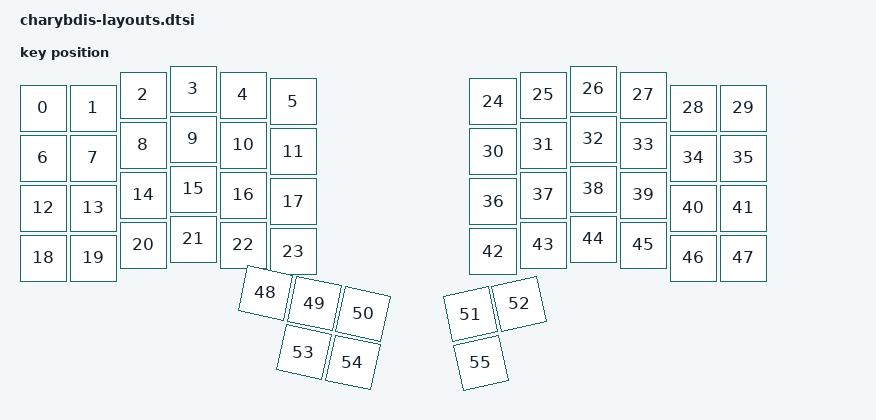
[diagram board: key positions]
#include <physical_layouts.dtsi>

/ {
    charybdis_physical_layout: charybdis_physical_layout {
        compatible = "zmk,physical-layout";
        display-name = "Charybdis 4x6";

        kscan = <&kscan0>;
        transform = <&default_transform>;

        keys
            // =====================================================
            // LEFT HALF — MAIN CLUSTER (4 x 6)
            // =====================================================

            // Row 0 (top / number row)
            = <&key_physical_attrs 100 100    0   38    0   0   0>
            , <&key_physical_attrs 100 100  100   38    0   0   0>
            , <&key_physical_attrs 100 100  200   12    0   0   0>
            , <&key_physical_attrs 100 100  300    0    0   0   0>
            , <&key_physical_attrs 100 100  400   12    0   0   0>
            , <&key_physical_attrs 100 100  500   25    0   0   0>

            // Row 1
            , <&key_physical_attrs 100 100    0  138    0   0   0>
            , <&key_physical_attrs 100 100  100  138    0   0   0>
            , <&key_physical_attrs 100 100  200  112    0   0   0>
            , <&key_physical_attrs 100 100  300  100    0   0   0>
            , <&key_physical_attrs 100 100  400  112    0   0   0>
            , <&key_physical_attrs 100 100  500  125    0   0   0>

            // Row 2 (home)
            , <&key_physical_attrs 100 100    0  238    0   0   0>
            , <&key_physical_attrs 100 100  100  238    0   0   0>
            , <&key_physical_attrs 100 100  200  212    0   0   0>
            , <&key_physical_attrs 100 100  300  200    0   0   0>
            , <&key_physical_attrs 100 100  400  212    0   0   0>
            , <&key_physical_attrs 100 100  500  225    0   0   0>

            // Row 3 (bottom)
            , <&key_physical_attrs 100 100    0  338    0   0   0>
            , <&key_physical_attrs 100 100  100  338    0   0   0>
            , <&key_physical_attrs 100 100  200  312    0   0   0>
            , <&key_physical_attrs 100 100  300  300    0   0   0>
            , <&key_physical_attrs 100 100  400  312    0   0   0>
            , <&key_physical_attrs 100 100  500  325    0   0   0>

            // =====================================================
            // RIGHT HALF — MAIN CLUSTER (4 x 6)
            // =====================================================

            // Row 0 (top / number row)
            , <&key_physical_attrs 100 100  900   25    0   0   0>
            , <&key_physical_attrs 100 100 1000   12    0   0   0>
            , <&key_physical_attrs 100 100 1100    0    0   0   0>
            , <&key_physical_attrs 100 100 1200   12    0   0   0>
            , <&key_physical_attrs 100 100 1300   38    0   0   0>
            , <&key_physical_attrs 100 100 1400   38    0   0   0>

            // Row 1
            , <&key_physical_attrs 100 100  900  125    0   0   0>
            , <&key_physical_attrs 100 100 1000  112    0   0   0>
            , <&key_physical_attrs 100 100 1100  100    0   0   0>
            , <&key_physical_attrs 100 100 1200  112    0   0   0>
            , <&key_physical_attrs 100 100 1300  138    0   0   0>
            , <&key_physical_attrs 100 100 1400  138    0   0   0>

            // Row 2 (home)
            , <&key_physical_attrs 100 100  900  225    0   0   0>
            , <&key_physical_attrs 100 100 1000  212    0   0   0>
            , <&key_physical_attrs 100 100 1100  200    0   0   0>
            , <&key_physical_attrs 100 100 1200  212    0   0   0>
            , <&key_physical_attrs 100 100 1300  238    0   0   0>
            , <&key_physical_attrs 100 100 1400  238    0   0   0>

            // Row 3 (bottom)
            , <&key_physical_attrs 100 100  900  325    0   0   0>
            , <&key_physical_attrs 100 100 1000  312    0   0   0>
            , <&key_physical_attrs 100 100 1100  300    0   0   0>
            , <&key_physical_attrs 100 100 1200  312    0   0   0>
            , <&key_physical_attrs 100 100 1300  338    0   0   0>
            , <&key_physical_attrs 100 100 1400  338    0   0   0>

            // =====================================================
            // THUMB CLUSTER — 5 LEFT + 3 RIGHT
            // =====================================================

            // Left Thumb (top row: 3 keys)
            , <&key_physical_attrs 100 100  355  418  1200  498  890>
            , <&key_physical_attrs 100 100  455  418  1200  498  890>
            , <&key_physical_attrs 100 100  555  418  1200  498  890>

            // Right Thumb (top row: 2 keys)
            , <&key_physical_attrs 100 100  940  418 (-1200) 1102  890>
            , <&key_physical_attrs 100 100 1040  418 (-1200) 1102  890>

            // Left Thumb (bottom row: 2 keys)
            , <&key_physical_attrs 100 100  455  518  1200  498  890>
            , <&key_physical_attrs 100 100  555  518  1200  498  890>

            // Right Thumb (bottom row: 1 key)
            , <&key_physical_attrs 100 100  940  518 (-1200) 1102  890>
            ;
    };
};
